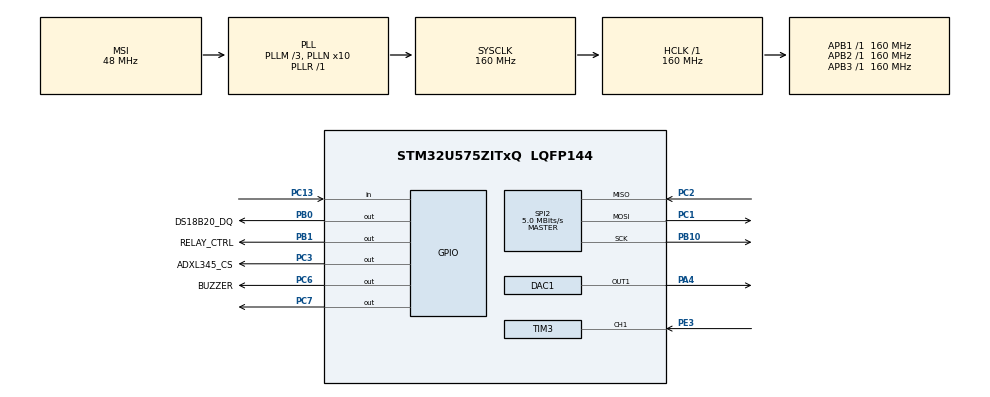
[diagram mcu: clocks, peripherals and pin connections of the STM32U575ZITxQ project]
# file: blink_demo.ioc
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CORTEX_M33_NS.userName=CORTEX_M33
DAC1.DAC_Channel-DAC_OUT1=DAC_CHANNEL_1
Mcu.Family=STM32U5
Mcu.Name=STM32U575ZITxQ
Mcu.Package=LQFP144
NUCLEO-U575ZI-Q.BUTTON=1
NUCLEO-U575ZI-Q.LD1=true
NUCLEO-U575ZI-Q.LD2=true
NUCLEO-U575ZI-Q.LD3=true
NUCLEO-U575ZI-Q.VCP=true
NVIC.EXTI13_IRQn=true\:0\:0\:false\:false\:true\:false\:true\:true
NVIC.PriorityGroup=NVIC_PRIORITYGROUP_3
NVIC.TIM17_IRQn=true\:7\:0\:false\:false\:true\:false\:true\:true
NVIC.TIM3_IRQn=true\:0\:0\:false\:false\:true\:true\:true\:true
NVIC.TIM6_IRQn=true\:0\:0\:false\:false\:true\:true\:true\:true
NVIC.TimeBase=TIM17_IRQn
NVIC.TimeBaseIP=TIM17
PA10.Signal=USART1_RX
PA4.Signal=COMP_DAC11_group
PA9.Signal=USART1_TX
PB0.GPIO_Label=DS18B20_DQ
PB0.GPIO_ModeDefaultOutputPP=GPIO_MODE_OUTPUT_OD
PB0.GPIO_PuPd=GPIO_PULLUP
PB0.Signal=GPIO_Output
PB1.GPIO_Label=RELAY_CTRL
PB1.Signal=GPIO_Output
PB10.Mode=Full_Duplex_Master
PB10.Signal=SPI2_SCK
PC1.Mode=Full_Duplex_Master
PC1.Signal=SPI2_MOSI
PC13.Signal=GPIO_Input
PC2.Mode=Full_Duplex_Master
PC2.Signal=SPI2_MISO
PC3.GPIO_Label=ADXL345_CS
PC3.PinState=GPIO_PIN_SET
PC3.Signal=GPIO_Output
PC6.GPIO_Label=BUZZER
PC6.Signal=GPIO_Output
PC7.Signal=GPIO_Output
PE3.Signal=S_TIM3_CH1
PWR.PowerMode=PWR_SMPS_SUPPLY
ProjectManager.HeapSize=0x800
ProjectManager.StackSize=0x800
ProjectManager.TargetToolchain=CMake
RCC.ADCCLockSelection=RCC_ADCDACCLKSOURCE_PLL2
RCC.ADCFreq_Value=160000000
RCC.AHBFreq_Value=160000000
RCC.APB1Freq_Value=160000000
RCC.APB1TimFreq_Value=160000000
RCC.APB2Freq_Value=160000000
RCC.APB2TimFreq_Value=160000000
RCC.APB3Freq_Value=160000000
RCC.CortexFreq_Value=160000000
RCC.DACCLockSelectionVirtual=RCC_DAC1CLKSOURCE_LSI
RCC.EPOD_VALUE=48000000
RCC.HCLKFreq_Value=160000000
RCC.HSE_VALUE=16000000
RCC.HSI48_VALUE=48000000
RCC.HSI_VALUE=16000000
RCC.LSE_VALUE=32768
RCC.LSIDIV_VALUE=32000
RCC.MSIClockRange=RCC_MSIRANGE_0
RCC.MSI_VALUE=48000000
RCC.PLL1R=1
RCC.PLL2M=3
RCC.PLL2N=20
RCC.PLLM=3
RCC.PLLN=10
RCC.PWR_Regulator_Voltage_Scale=PWR_REGULATOR_VOLTAGE_SCALE1
RCC.SYSCLKFreq_VALUE=160000000
RCC.SYSCLKSource=RCC_SYSCLKSOURCE_PLLCLK
RCC.USBFreq_Value=48000000
RCC.VCOOutputFreq_Value=160000000
SH.COMP_DAC11_group.0=DAC1_OUT1,DAC_OUT1
SH.S_TIM3_CH1.0=TIM3_CH1,Input_Capture1_from_TI1
SPI2.BaudRatePrescaler=SPI_BAUDRATEPRESCALER_32
SPI2.CLKPolarity=SPI_POLARITY_HIGH
SPI2.CalculateBaudRate=5.0 MBits/s
SPI2.DataSize=SPI_DATASIZE_8BIT
SPI2.Direction=SPI_DIRECTION_2LINES
SPI2.Mode=SPI_MODE_MASTER
SPI2.VirtualType=VM_MASTER
STMicroelectronics.X-CUBE-AI.10.2.1.ActivationBufferSizeList=23648
STMicroelectronics.X-CUBE-AI.10.2.1.ActivationBuffers=pool0
STMicroelectronics.X-CUBE-AI.10.2.1.ActivationNames=pool0
STMicroelectronics.X-CUBE-AI.10.2.1.ActivationSizes=AI_BEARING_CNN_DATA_ACTIVATION_1_SIZE
STMicroelectronics.X-CUBE-AI.10.2.1.HeapSize=0x800
STMicroelectronics.X-CUBE-AI.10.2.1.InternalRamActivationBufferMaxSize=AI_BEARING_CNN_DATA_ACTIVATIONS_SIZE
STMicroelectronics.X-CUBE-AI.10.2.1.LatestDirectoryUsed-1365026cf679930af0af667c2cbd3b44e52ef7d46da0c32e2e566eb4cdc6b9ab=D\:\\trae-Campus-food-ordering\\model\\runs
STMicroelectronics.X-CUBE-AI.10.2.1.MaximumNumberOfInputLayer=1
STMicroelectronics.X-CUBE-AI.10.2.1.MaximumNumberOfOutputLayer=1
STMicroelectronics.X-CUBE-AI.10.2.1.MaximumSizeOfInputLayer=1
STMicroelectronics.X-CUBE-AI.10.2.1.MaximumSizeOfOutputLayer=1
STMicroelectronics.X-CUBE-AI.10.2.1.ModelActualCompression-1365026cf679930af0af667c2cbd3b44e52ef7d46da0c32e2e566eb4cdc6b9ab=0.0
STMicroelectronics.X-CUBE-AI.10.2.1.ModelCompression-1365026cf679930af0af667c2cbd3b44e52ef7d46da0c32e2e566eb4cdc6b9ab=High
STMicroelectronics.X-CUBE-AI.10.2.1.ModelFlashOccupation-1365026cf679930af0af667c2cbd3b44e52ef7d46da0c32e2e566eb4cdc6b9ab=116912
STMicroelectronics.X-CUBE-AI.10.2.1.ModelHashList=1365026cf679930af0af667c2cbd3b44e52ef7d46da0c32e2e566eb4cdc6b9ab
STMicroelectronics.X-CUBE-AI.10.2.1.ModelKind-1365026cf679930af0af667c2cbd3b44e52ef7d46da0c32e2e566eb4cdc6b9ab=ONNX
STMicroelectronics.X-CUBE-AI.10.2.1.ModelMacc-1365026cf679930af0af667c2cbd3b44e52ef7d46da0c32e2e566eb4cdc6b9ab=4796884
STMicroelectronics.X-CUBE-AI.10.2.1.ModelName-1365026cf679930af0af667c2cbd3b44e52ef7d46da0c32e2e566eb4cdc6b9ab=bearing_cnn
STMicroelectronics.X-CUBE-AI.10.2.1.ModelNameList=bearing_cnn
STMicroelectronics.X-CUBE-AI.10.2.1.ModelRamOccupation-1365026cf679930af0af667c2cbd3b44e52ef7d46da0c32e2e566eb4cdc6b9ab=23648
STMicroelectronics.X-CUBE-AI.10.2.1.ModelStructureFile-1365026cf679930af0af667c2cbd3b44e52ef7d46da0c32e2e566eb4cdc6b9ab=D\:\\trae-Campus-food-ordering\\model\\runs\\best_model.onnx
STMicroelectronics.X-CUBE-AI.10.2.1.ModelType-1365026cf679930af0af667c2cbd3b44e52ef7d46da0c32e2e566eb4cdc6b9ab=STM32Cube.AI MCU runtime
STMicroelectronics.X-CUBE-AI.10.2.1.ReadyForCodeGeneration=true
STMicroelectronics.X-CUBE-AI.10.2.1.StackSize=0x800
STMicroelectronics.X-CUBE-AI.10.2.1.WorkingBufferStartAddrList=0xFFFFFFFF
STMicroelectronics.X-CUBE-AI.10.2.1.XAaCUBEAaAICcArtificialOoIntelligenceJjCore=true
STMicroelectronics.X-CUBE-AI.10.2.1.copyWeightToRam-1365026cf679930af0af667c2cbd3b44e52ef7d46da0c32e2e566eb4cdc6b9ab=false
STMicroelectronics.X-CUBE-AI.10.2.1.customLayerConfigEnabled-1365026cf679930af0af667c2cbd3b44e52ef7d46da0c32e2e566eb4cdc6b9ab=false
STMicroelectronics.X-CUBE-AI.10.2.1.noOnnxIoTranspose-1365026cf679930af0af667c2cbd3b44e52ef7d46da0c32e2e566eb4cdc6b9ab=false
STMicroelectronics.X-CUBE-AI.10.2.1.useInputAllocation-1365026cf679930af0af667c2cbd3b44e52ef7d46da0c32e2e566eb4cdc6b9ab=true
STMicroelectronics.X-CUBE-AI.10.2.1.useOutputAllocation-1365026cf679930af0af667c2cbd3b44e52ef7d46da0c32e2e566eb4cdc6b9ab=true
TIM3.Channel-Input_Capture1_from_TI1=TIM_CHANNEL_1
TIM3.Prescaler=159
TIM6.AutoReloadPreload=TIM_AUTORELOAD_PRELOAD_ENABLE
TIM6.PeriodNoDither=999
TIM6.Prescaler=39
VP_ICACHE_VS_ENABLE_ICACHE_MEMORY.Mode=Memoryregions
VP_ICACHE_VS_ICACHE.Mode=DirectMappedCache
VP_LPBAMQUEUE_VS_QUEUE.Mode=QUEUEMODE
VP_LPBAM_VS_SIG1.Mode=SmartRun
VP_LPBAM_VS_SIG4.Mode=LPDMA1
VP_MEMORYMAP_VS_MEMORYMAP.Mode=CurAppReg
VP_NUCLEO-U575ZI-Q_VS_BSP_COMMON.Mode=COMMON
VP_PWR_VS_DBSignals.Mode=DisableDeadBatterySignals
VP_PWR_VS_LPOM.Mode=PowerOptimisation
VP_PWR_VS_SECSignals.Mode=Security/Privilege
VP_STMicroelectronics.X-CUBE-AI_VS_ArtificialOoIntelligenceJjXAaCUBEAaAI_10.2.1.Mode=ArtificialOoIntelligenceJjXAaCUBEAaAI
VP_SYS_VS_tim17.Mode=TIM17
VP_TIM6_VS_ClockSourceINT.Mode=Enable_Timer
board=NUCLEO-U575ZI-Q

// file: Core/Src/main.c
/* USER CODE BEGIN Header */
/**
  ******************************************************************************
  * @file           : main.c
  * @brief          : Main program body
  ******************************************************************************
  * @attention
  *
  * Copyright (c) 2026 STMicroelectronics.
  * All rights reserved.
  *
  * This software is licensed under terms that can be found in the LICENSE file
  * in the root directory of this software component.
  * If no LICENSE file comes with this software, it is provided AS-IS.
  *
  ******************************************************************************
  */
/* USER CODE END Header */
#include "main.h"
#include "dac.h"
#include "icache.h"
#include "spi.h"
#include "tim.h"
#include "gpio.h"

/* USER CODE BEGIN Includes */
#include "adxl345.h"
#include "ds18b20.h"
#include "features.h"
#include "state_machine.h"
#include "control.h"
#include "ai_model.h"
/* USER CODE END Includes */

COM_InitTypeDef BspCOMInit;

/* USER CODE BEGIN PV */
#define FRAME_LEN  1024                  /* 每帧采样点数 */
volatile int16_t g_z_buffer[FRAME_LEN]; /* Z 轴振动缓冲 */
volatile uint16_t g_buf_idx = 0;        /* 缓冲写入位置 */
volatile uint8_t g_frame_ready = 0;     /* 一帧采集完成标志 */
volatile int16_t g_temp_x10 = 0;        /* 温度 ×10 */
static uint32_t g_temp_conv_start = 0;   /* 温度转换启动时刻 */
static uint8_t  g_temp_converting = 0;   /* 温度转换进行中标志 */
/* USER CODE END PV */

void SystemClock_Config(void);
static void SystemPower_Config(void);

/* USER CODE BEGIN 0 */
/* printf 重定向到 COM1（USART1） */
extern UART_HandleTypeDef hcom_uart[];

int _write(int file, char *ptr, int len)
{
  HAL_UART_Transmit(&hcom_uart[COM1], (uint8_t *)ptr, len, HAL_MAX_DELAY);
  return len;
}

/* IWDG 独立看门狗（寄存器直接操作，无需 HAL IWDG 驱动）
 * LSI ≈ 32kHz, 预分频 /64, reload=1000 → 超时 ≈ 2s
 * 主循环必须在 2s 内喂狗，否则自动复位（满足 72h 连续运行硬约束） */
static void IWDG_Init(void)
{
  IWDG->KR  = 0x5555;   /* 解锁 PR/RLR 寄存器 */
  IWDG->PR  = 0x04;     /* 预分频 /64 */
  IWDG->RLR = 1000;     /* 重载值 → 2s 超时 */
  while (IWDG->SR != 0) { /* 等待 PVU/RVU 位清零 */ }
  IWDG->KR  = 0xCCCC;   /* 启动看门狗 */
  IWDG->KR  = 0xAAAA;   /* 首次喂狗 */
}

static inline void IWDG_Refresh(void)
{
  IWDG->KR = 0xAAAA;    /* 喂狗 */
}
/* USER CODE END 0 */

int main(void)
{

  /* MCU Configuration--------------------------------------------------------*/

  /* Reset of all peripherals, Initializes the Flash interface and the Systick. */
  HAL_Init();

  /* Configure the System Power */
  SystemPower_Config();

  /* Configure the system clock */
  SystemClock_Config();

  /* ============================================================
   * 外设初始化（CubeMX 自动生成）
   * MX_GPIO_Init   — GPIO（PB1继电器、PC6蜂鸣器、PC3片选等）
   * MX_SPI2_Init   — SPI2（PB10=SCK, PC1=MOSI, PC2=MISO，连 ADXL345）
   * MX_TIM6_Init   — 定时器6（4kHz 中断，驱动振动采样）
   * MX_TIM3_Init   — 定时器3（PA6输入捕获，测电机转速）
   * MX_DAC1_Init   — DAC（PA4输出0-3.3V，备用调速接口）
   * ============================================================ */
  MX_GPIO_Init();
  MX_ICACHE_Init();
  MX_SPI2_Init();
  MX_TIM6_Init();
  MX_DAC1_Init();
  MX_TIM3_Init();

  /* ---------- 应用层初始化 ---------- */

  /* ADXL345 振动传感器：SPI 通信，±16g 量程，3200Hz 采样 */
  int8_t ret = ADXL345_Init(ADXL345_RANGE_16G, ADXL345_RATE_3200HZ);
  uint8_t devid = ADXL345_ReadDevID();
  printf("ADXL345 DEVID = 0x%02X, init = %s\r\n", devid, (ret == 0) ? "OK" : "FAIL");

  /* DS18B20 温度传感器：1-Wire 单总线（PA0） */
  int8_t tret = DS18B20_Init();
  printf("DS18B20 init = %s\r\n", (tret == 0) ? "OK" : "FAIL");

  /* 状态机：自适应基线学习 + z-score 异常检测 + RUL 预测 */
  StateMachine_Init();

  /* AI 模型：1D-CNN 轴承故障分类（4 分类） */
  int8_t ai_ret = AI_Init();
  printf("AI model init = %s\r\n", (ai_ret == 0) ? "OK" : "FAIL");

  /* DAC 输出 100%（全速，不干预生产） */
  Control_SetSpeed(100);

  /* 启动中断：TIM6=4kHz采样, TIM3=转速脉冲捕获 */
  HAL_TIM_Base_Start_IT(&htim6);
  HAL_TIM_IC_Start_IT(&htim3, TIM_CHANNEL_1);
  /* USER CODE END 2 */

  /* Initialize leds */
  BSP_LED_Init(LED_GREEN);
  BSP_LED_Init(LED_BLUE);
  BSP_LED_Init(LED_RED);

  /* Initialize USER push-button, will be used to trigger an interrupt each time it's pressed.*/
  BSP_PB_Init(BUTTON_USER, BUTTON_MODE_EXTI);

  /* Initialize COM1 port (115200, 8 bits (7-bit data + 1 stop bit), no parity */
  BspCOMInit.BaudRate   = 115200;
  BspCOMInit.WordLength = COM_WORDLENGTH_8B;
  BspCOMInit.StopBits   = COM_STOPBITS_1;
  BspCOMInit.Parity     = COM_PARITY_NONE;
  BspCOMInit.HwFlowCtl  = COM_HWCONTROL_NONE;
  if (BSP_COM_Init(COM1, &BspCOMInit) != BSP_ERROR_NONE)
  {
    Error_Handler();
  }

  /* 启动独立看门狗（2s 超时，主循环喂狗） */
  IWDG_Init();
  printf("IWDG started (2s timeout)\r\n");

  /* ============================================================
   * 主循环（while 1）
   * 核心数据流：
   *   TIM6中断(4kHz) → 采满1024点 → g_frame_ready=1
   *   ↓
   *   主循环检测到帧就绪 → 提取特征(RMS/峭度) → 状态机更新
   *   ↓
   *   输出健康等级 + RUL + 维护建议（串口打印）
   * ============================================================ */
  static uint32_t temp_timer = 0;
  while (1)
  {
    /* B1 按键（PC13）：手动复位状态机（重新学习基线） */
    if (HAL_GPIO_ReadPin(GPIOC, GPIO_PIN_13) == GPIO_PIN_SET)
    {
      HAL_Delay(20);  /* 消抖 */
      while (HAL_GPIO_ReadPin(GPIOC, GPIO_PIN_13) == GPIO_PIN_SET) {}
      HAL_Delay(20);
      StateMachine_Init();    /* 清空基线，重新学习 */
      Control_SetSpeed(100);  /* DAC 恢复全速 */
      printf("[KEY] State reset, re-learning baseline\r\n");
    }

    /* 一帧数据采集完成（1024点 ≈ 0.256秒） */
    if (g_frame_ready)
    {
      g_frame_ready = 0;

      /* 步骤1：从原始振动数据提取时域特征 */
      VibFeatures_t feat;
      Features_Extract((int16_t *)g_z_buffer, FRAME_LEN, &feat);

      /* 步骤2：状态机更新（自适应学习 + z-score 检测 + RUL 预测） */
      float temp = g_temp_x10 / 10.0f;
      const StateOutput_t *out = StateMachine_Update(&feat, temp);

      /* 步骤3：AI 故障分类推理（1D-CNN，4 分类） */
      AiResult_t ai_res;
      int8_t ai_ok = AI_Run((int16_t *)g_z_buffer, FRAME_LEN, &ai_res);

      /* 步骤4：串口输出结果 */
      const char *maint_str[] = {"---", "LEARN", "PREPARE", "SCHEDULE", "URGENT!"};
      if (!out->baseline.learned) {
          /* 前 50 秒：正在学习正常状态基线 */
          printf("LEARNING... RMS=%6.1f (%lu/200)\r\n", feat.rms,
                 (unsigned long)out->baseline.sample_cnt);
      } else {
          /* 基线已建立，输出实时健康状态 + AI 故障分类 */
          printf("RMS=%7.1f z=%5.1f T=%5.1fC | H=%d RUL=%4luh %s%s | AI=%s(%.0f%%)\r\n",
                 feat.rms, out->z_rms, temp,
                 out->health, out->rul_hours,
                 maint_str[out->maint],
                 out->need_spare ? " [SPARE]" : "",
                 (ai_ok == 0) ? AI_FaultName(ai_res.fault) : "ERR",
                 (ai_ok == 0) ? ai_res.confidence * 100.0f : 0.0f);
      }
    }

    /* 温度采集（非阻塞：启动转换 → 等 750ms → 读结果 → 每 5 秒一次） */
    if (!g_temp_converting) {
        if (HAL_GetTick() - temp_timer > 5000) {
            DS18B20_StartConversion();
            g_temp_conv_start = HAL_GetTick();
            g_temp_converting = 1;
        }
    } else {
        if (HAL_GetTick() - g_temp_conv_start > 750) {
            g_temp_x10 = DS18B20_ReadResultX10();
            temp_timer = HAL_GetTick();
            g_temp_converting = 0;
        }
    }

    /* 喂狗（必须在 2s 内执行） */
    IWDG_Refresh();
  }
}

void SystemClock_Config(void)
{
  RCC_OscInitTypeDef RCC_OscInitStruct = {0};
  RCC_ClkInitTypeDef RCC_ClkInitStruct = {0};

  /** Configure the main internal regulator output voltage
  */
  if (HAL_PWREx_ControlVoltageScaling(PWR_REGULATOR_VOLTAGE_SCALE1) != HAL_OK)
  {
    Error_Handler();
  }

  /** Initializes the CPU, AHB and APB buses clocks
  */
  RCC_OscInitStruct.OscillatorType = RCC_OSCILLATORTYPE_LSI|RCC_OSCILLATORTYPE_MSI;
  RCC_OscInitStruct.LSIState = RCC_LSI_ON;
  RCC_OscInitStruct.MSIState = RCC_MSI_ON;
  RCC_OscInitStruct.MSICalibrationValue = RCC_MSICALIBRATION_DEFAULT;
  RCC_OscInitStruct.MSIClockRange = RCC_MSIRANGE_0;
  RCC_OscInitStruct.LSIDiv = RCC_LSI_DIV1;
  RCC_OscInitStruct.PLL.PLLState = RCC_PLL_ON;
  RCC_OscInitStruct.PLL.PLLSource = RCC_PLLSOURCE_MSI;
  RCC_OscInitStruct.PLL.PLLMBOOST = RCC_PLLMBOOST_DIV4;
  RCC_OscInitStruct.PLL.PLLM = 3;
  RCC_OscInitStruct.PLL.PLLN = 10;
  RCC_OscInitStruct.PLL.PLLP = 2;
  RCC_OscInitStruct.PLL.PLLQ = 2;
  RCC_OscInitStruct.PLL.PLLR = 1;
  RCC_OscInitStruct.PLL.PLLRGE = RCC_PLLVCIRANGE_1;
  RCC_OscInitStruct.PLL.PLLFRACN = 0;
  if (HAL_RCC_OscConfig(&RCC_OscInitStruct) != HAL_OK)
  {
    Error_Handler();
  }

  /** Initializes the CPU, AHB and APB buses clocks
  */
  RCC_ClkInitStruct.ClockType = RCC_CLOCKTYPE_HCLK|RCC_CLOCKTYPE_SYSCLK
                              |RCC_CLOCKTYPE_PCLK1|RCC_CLOCKTYPE_PCLK2
                              |RCC_CLOCKTYPE_PCLK3;
  RCC_ClkInitStruct.SYSCLKSource = RCC_SYSCLKSOURCE_PLLCLK;
  RCC_ClkInitStruct.AHBCLKDivider = RCC_SYSCLK_DIV1;
  RCC_ClkInitStruct.APB1CLKDivider = RCC_HCLK_DIV1;
  RCC_ClkInitStruct.APB2CLKDivider = RCC_HCLK_DIV1;
  RCC_ClkInitStruct.APB3CLKDivider = RCC_HCLK_DIV1;

  if (HAL_RCC_ClockConfig(&RCC_ClkInitStruct, FLASH_LATENCY_4) != HAL_OK)
  {
    Error_Handler();
  }
}

/**
  * @brief Power Configuration
  * @retval None
  */
static void SystemPower_Config(void)
{

  /*
   * Disable the internal Pull-Up in Dead Battery pins of UCPD peripheral
   */
  HAL_PWREx_DisableUCPDDeadBattery();

  /*
   * Switch to SMPS regulator instead of LDO
   */
  if (HAL_PWREx_ConfigSupply(PWR_SMPS_SUPPLY) != HAL_OK)
  {
    Error_Handler();
  }
}

/* USER CODE BEGIN 4 */
/* TIM3 输入捕获回调：测量电机转速脉冲周期 */
void HAL_TIM_IC_CaptureCallback(TIM_HandleTypeDef *htim)
{
  if (htim->Instance == TIM3 && htim->Channel == HAL_TIM_ACTIVE_CHANNEL_1)
  {
    uint32_t period = HAL_TIM_ReadCapturedValue(htim, TIM_CHANNEL_1);
    Control_UpdateSpeed(period);
    __HAL_TIM_SET_COUNTER(htim, 0);
  }
}
/* USER CODE END 4 */

void HAL_TIM_PeriodElapsedCallback(TIM_HandleTypeDef *htim)
{
  if (htim->Instance == TIM17)
  {
    HAL_IncTick();
  }
  /* USER CODE BEGIN Callback 1 */
  if (htim->Instance == TIM6)
  {
    /* 4kHz 中断：读取 ADXL345 Z 轴，填入帧缓冲 */
    ADXL345_Data_t accel;
    ADXL345_ReadAccel(&accel);
    g_z_buffer[g_buf_idx++] = accel.z;
    if (g_buf_idx >= FRAME_LEN)
    {
      g_buf_idx = 0;
      g_frame_ready = 1;
    }
  }
  /* USER CODE END Callback 1 */
}

void Error_Handler(void)
{
  __disable_irq();
  while (1)
  {
  }
}
